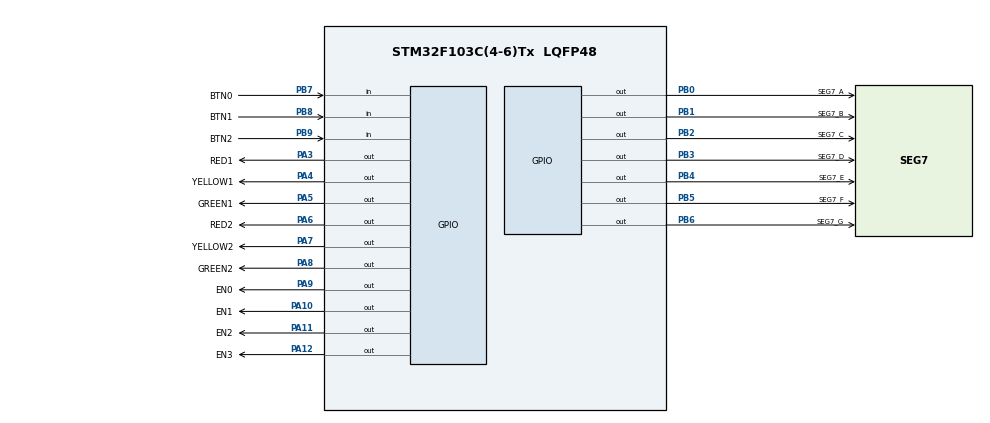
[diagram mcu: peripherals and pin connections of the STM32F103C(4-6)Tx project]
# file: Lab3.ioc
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Mcu.Family=STM32F1
Mcu.Name=STM32F103C(4-6)Tx
Mcu.Package=LQFP48
NVIC.PriorityGroup=NVIC_PRIORITYGROUP_4
NVIC.TIM2_IRQn=true\:0\:0\:false\:false\:true\:true\:true
PA10.GPIO_Label=EN1
PA10.Signal=GPIO_Output
PA11.GPIO_Label=EN2
PA11.Signal=GPIO_Output
PA12.GPIO_Label=EN3
PA12.Signal=GPIO_Output
PA3.GPIO_Label=RED1
PA3.Signal=GPIO_Output
PA4.GPIO_Label=YELLOW1
PA4.Signal=GPIO_Output
PA5.GPIO_Label=GREEN1
PA5.Signal=GPIO_Output
PA6.GPIO_Label=RED2
PA6.Signal=GPIO_Output
PA7.GPIO_Label=YELLOW2
PA7.Signal=GPIO_Output
PA8.GPIO_Label=GREEN2
PA8.Signal=GPIO_Output
PA9.GPIO_Label=EN0
PA9.Signal=GPIO_Output
PB0.GPIO_Label=SEG7_A
PB0.Signal=GPIO_Output
PB1.GPIO_Label=SEG7_B
PB1.Signal=GPIO_Output
PB2.GPIO_Label=SEG7_C
PB2.Signal=GPIO_Output
PB3.GPIO_Label=SEG7_D
PB3.Signal=GPIO_Output
PB4.GPIO_Label=SEG7_E
PB4.Signal=GPIO_Output
PB5.GPIO_Label=SEG7_F
PB5.Signal=GPIO_Output
PB6.GPIO_Label=SEG7_G
PB6.Signal=GPIO_Output
PB7.GPIO_Label=BTN0
PB7.GPIO_PuPd=GPIO_PULLUP
PB7.Signal=GPIO_Input
PB8.GPIO_Label=BTN1
PB8.GPIO_PuPd=GPIO_PULLUP
PB8.Signal=GPIO_Input
PB9.GPIO_Label=BTN2
PB9.GPIO_PuPd=GPIO_PULLUP
PB9.Signal=GPIO_Input
ProjectManager.HeapSize=0x200
ProjectManager.StackSize=0x400
ProjectManager.TargetToolchain=STM32CubeIDE
RCC.APB1Freq_Value=8000000
RCC.APB2Freq_Value=8000000
TIM2.Period=9
TIM2.Prescaler=7999
VP_SYS_VS_ND.Mode=No_Debug
VP_TIM2_VS_ClockSourceINT.Mode=Internal
board=custom

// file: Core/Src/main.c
/* USER CODE BEGIN Header */
/**
  ******************************************************************************
  * @file           : main.c
  * @brief          : Main program body
  ******************************************************************************
  * @attention
  *
  * <h2><center>&copy; Copyright (c) 2023 STMicroelectronics.
  * All rights reserved.</center></h2>
  *
  * This software component is licensed by ST under BSD 3-Clause license,
  * the "License"; You may not use this file except in compliance with the
  * License. You may obtain a copy of the License at:
  *                        opensource.org/licenses/BSD-3-Clause
  *
  ******************************************************************************
  */
/* USER CODE END Header */
#include "main.h"

/* USER CODE BEGIN Includes */
#include "fsm_traffic_light.h"
/* USER CODE END Includes */

TIM_HandleTypeDef htim2;

void SystemClock_Config(void);
static void MX_GPIO_Init(void);
static void MX_TIM2_Init(void);

int main(void)
{

  /* MCU Configuration--------------------------------------------------------*/

  /* Reset of all peripherals, Initializes the Flash interface and the Systick. */
  HAL_Init();

  /* Configure the system clock */
  SystemClock_Config();

  /* Initialize all configured peripherals */
  MX_GPIO_Init();
  MX_TIM2_Init();
  /* USER CODE BEGIN 2 */
  HAL_TIM_Base_Start_IT(&htim2);
  /* USER CODE END 2 */

  /* Infinite loop */
  /* USER CODE BEGIN WHILE */
  setTimer3(1);
  setTimer4(1);
  while (1)
  {
	  if (timer3_flag == 1){
		  setTimer3(10);
		  updateLedBuffer();
	  }

	  if (timer4_flag == 1){
		  setTimer4(25);
		  update7SEG(index_led++);
		  if (index_led >= 4) index_led = 0;
	  }

	  fsm_traffic_light();
	  fsm_mod_led();
    /* USER CODE END WHILE */

  }
}

void SystemClock_Config(void)
{
  RCC_OscInitTypeDef RCC_OscInitStruct = {0};
  RCC_ClkInitTypeDef RCC_ClkInitStruct = {0};

  /** Initializes the RCC Oscillators according to the specified parameters
  * in the RCC_OscInitTypeDef structure.
  */
  RCC_OscInitStruct.OscillatorType = RCC_OSCILLATORTYPE_HSI;
  RCC_OscInitStruct.HSIState = RCC_HSI_ON;
  RCC_OscInitStruct.HSICalibrationValue = RCC_HSICALIBRATION_DEFAULT;
  RCC_OscInitStruct.PLL.PLLState = RCC_PLL_NONE;
  if (HAL_RCC_OscConfig(&RCC_OscInitStruct) != HAL_OK)
  {
    Error_Handler();
  }
  /** Initializes the CPU, AHB and APB buses clocks
  */
  RCC_ClkInitStruct.ClockType = RCC_CLOCKTYPE_HCLK|RCC_CLOCKTYPE_SYSCLK
                              |RCC_CLOCKTYPE_PCLK1|RCC_CLOCKTYPE_PCLK2;
  RCC_ClkInitStruct.SYSCLKSource = RCC_SYSCLKSOURCE_HSI;
  RCC_ClkInitStruct.AHBCLKDivider = RCC_SYSCLK_DIV1;
  RCC_ClkInitStruct.APB1CLKDivider = RCC_HCLK_DIV1;
  RCC_ClkInitStruct.APB2CLKDivider = RCC_HCLK_DIV1;

  if (HAL_RCC_ClockConfig(&RCC_ClkInitStruct, FLASH_LATENCY_0) != HAL_OK)
  {
    Error_Handler();
  }
}

static void MX_TIM2_Init(void)
{

  TIM_ClockConfigTypeDef sClockSourceConfig = {0};
  TIM_MasterConfigTypeDef sMasterConfig = {0};

  htim2.Instance = TIM2;
  htim2.Init.Prescaler = 7999;
  htim2.Init.CounterMode = TIM_COUNTERMODE_UP;
  htim2.Init.Period = 9;
  htim2.Init.ClockDivision = TIM_CLOCKDIVISION_DIV1;
  htim2.Init.AutoReloadPreload = TIM_AUTORELOAD_PRELOAD_DISABLE;
  if (HAL_TIM_Base_Init(&htim2) != HAL_OK)
  {
    Error_Handler();
  }
  sClockSourceConfig.ClockSource = TIM_CLOCKSOURCE_INTERNAL;
  if (HAL_TIM_ConfigClockSource(&htim2, &sClockSourceConfig) != HAL_OK)
  {
    Error_Handler();
  }
  sMasterConfig.MasterOutputTrigger = TIM_TRGO_RESET;
  sMasterConfig.MasterSlaveMode = TIM_MASTERSLAVEMODE_DISABLE;
  if (HAL_TIMEx_MasterConfigSynchronization(&htim2, &sMasterConfig) != HAL_OK)
  {
    Error_Handler();
  }

}

static void MX_GPIO_Init(void)
{
  GPIO_InitTypeDef GPIO_InitStruct = {0};

  /* GPIO Ports Clock Enable */
  __HAL_RCC_GPIOA_CLK_ENABLE();
  __HAL_RCC_GPIOB_CLK_ENABLE();

  /*Configure GPIO pin Output Level */
  HAL_GPIO_WritePin(GPIOA, RED1_Pin|YELLOW1_Pin|GREEN1_Pin|RED2_Pin
                          |YELLOW2_Pin|GREEN2_Pin|EN0_Pin|EN1_Pin
                          |EN2_Pin|EN3_Pin, GPIO_PIN_RESET);

  /*Configure GPIO pin Output Level */
  HAL_GPIO_WritePin(GPIOB, SEG7_A_Pin|SEG7_B_Pin|SEG7_C_Pin|SEG7_D_Pin
                          |SEG7_E_Pin|SEG7_F_Pin|SEG7_G_Pin, GPIO_PIN_RESET);

  /*Configure GPIO pins : RED1_Pin YELLOW1_Pin GREEN1_Pin RED2_Pin
                           YELLOW2_Pin GREEN2_Pin EN0_Pin EN1_Pin
                           EN2_Pin EN3_Pin */
  GPIO_InitStruct.Pin = RED1_Pin|YELLOW1_Pin|GREEN1_Pin|RED2_Pin
                          |YELLOW2_Pin|GREEN2_Pin|EN0_Pin|EN1_Pin
                          |EN2_Pin|EN3_Pin;
  GPIO_InitStruct.Mode = GPIO_MODE_OUTPUT_PP;
  GPIO_InitStruct.Pull = GPIO_NOPULL;
  GPIO_InitStruct.Speed = GPIO_SPEED_FREQ_LOW;
  HAL_GPIO_Init(GPIOA, &GPIO_InitStruct);

  /*Configure GPIO pins : SEG7_A_Pin SEG7_B_Pin SEG7_C_Pin SEG7_D_Pin
                           SEG7_E_Pin SEG7_F_Pin SEG7_G_Pin */
  GPIO_InitStruct.Pin = SEG7_A_Pin|SEG7_B_Pin|SEG7_C_Pin|SEG7_D_Pin
                          |SEG7_E_Pin|SEG7_F_Pin|SEG7_G_Pin;
  GPIO_InitStruct.Mode = GPIO_MODE_OUTPUT_PP;
  GPIO_InitStruct.Pull = GPIO_NOPULL;
  GPIO_InitStruct.Speed = GPIO_SPEED_FREQ_LOW;
  HAL_GPIO_Init(GPIOB, &GPIO_InitStruct);

  /*Configure GPIO pins : BTN0_Pin BTN1_Pin BTN2_Pin */
  GPIO_InitStruct.Pin = BTN0_Pin|BTN1_Pin|BTN2_Pin;
  GPIO_InitStruct.Mode = GPIO_MODE_INPUT;
  GPIO_InitStruct.Pull = GPIO_PULLUP;
  HAL_GPIO_Init(GPIOB, &GPIO_InitStruct);

}

/* USER CODE BEGIN 4 */
void HAL_TIM_PeriodElapsedCallback ( TIM_HandleTypeDef * htim ){
	timerRun();
	getKeyInput();
}
/* USER CODE END 4 */

void Error_Handler(void)
{
  __disable_irq();
  while (1)
  {
  }
}

/************************ (C) COPYRIGHT STMicroelectronics *****END OF FILE****/
